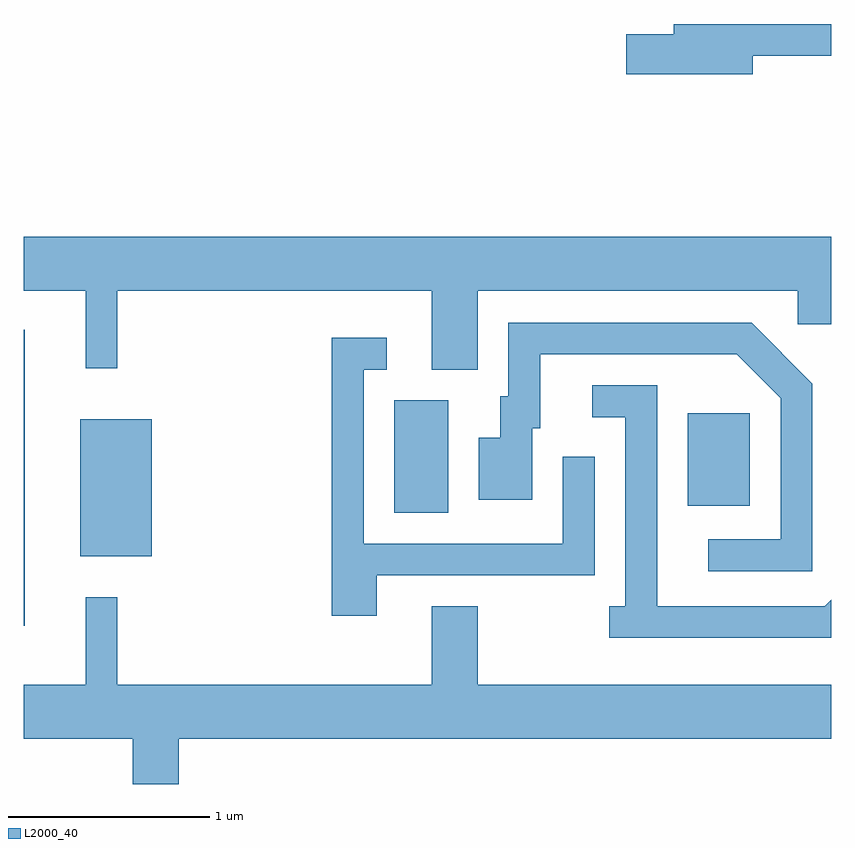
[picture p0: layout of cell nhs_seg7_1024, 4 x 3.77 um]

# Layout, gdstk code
import gdstk
lib = gdstk.Library(unit=1e-6, precision=1e-09)
def R(c, l, rs):  # rectangles x0, y0, x1, y1
    for r in rs: c.add(gdstk.rectangle(r[:2], r[2:], *l))
def P(c, l, *ps):  # polygons
    for p in ps: c.add(gdstk.Polygon(p, *l))
L2000_40 = (2000, 40)

nhs_seg7_1024 = lib.new_cell('nhs_seg7_1024')
R(nhs_seg7_1024, L2000_40, [(215.611,1777.036,215.614,1778.503), (215.891,1777.381,216.244,1778.059), (217.446,1777.596,217.714,1778.154), (218.901,1777.631,219.209,1778.089)])
P(nhs_seg7_1024, L2000_40, [(219.224,1779.861),(219.611,1779.861),(219.611,1780.019),(218.831,1780.019),(218.831,1779.969),(218.596,1779.969),(218.596,1779.771),(219.224,1779.771)],
  [(217.859,1778.696),(219.446,1778.696),(219.446,1778.531),(219.611,1778.531),(219.611,1778.964),(215.611,1778.964),(215.611,1778.696),(215.916,1778.696),(215.916,1778.313),(216.074,1778.313),(216.074,1778.696),(217.631,1778.696),(217.631,1778.306),(217.859,1778.306)],
  [(219.519,1778.237),(219.217,1778.539),(218.011,1778.539),(218.011,1778.174),(217.971,1778.174),(217.971,1777.969),(217.866,1777.969),(217.866,1777.661),(218.129,1777.661),(218.129,1778.016),(218.169,1778.016),(218.169,1778.381),(219.144,1778.381),(219.361,1778.164),(219.361,1777.464),(219.003,1777.464),(219.003,1777.306),(219.519,1777.306)],
  [(217.359,1777.286),(218.439,1777.286),(218.439,1777.873),(218.281,1777.873),(218.281,1777.444),(217.294,1777.444),(217.294,1778.306),(217.408,1778.306),(217.408,1778.464),(217.136,1778.464),(217.136,1777.086),(217.359,1777.086)],
  [(219.611,1777.166),(219.579,1777.134),(218.749,1777.134),(218.749,1778.229),(218.428,1778.229),(218.428,1778.071),(218.591,1778.071),(218.591,1777.134),(218.513,1777.134),(218.513,1776.976),(219.611,1776.976)],
  [(216.379,1776.476),(219.611,1776.476),(219.611,1776.744),(217.859,1776.744),(217.859,1777.134),(217.631,1777.134),(217.631,1776.744),(216.074,1776.744),(216.074,1777.178),(215.916,1777.178),(215.916,1776.744),(215.611,1776.744),(215.611,1776.476),(216.151,1776.476),(216.151,1776.252),(216.379,1776.252)])

lib.write_gds('nhs_seg7_1024.gds')
